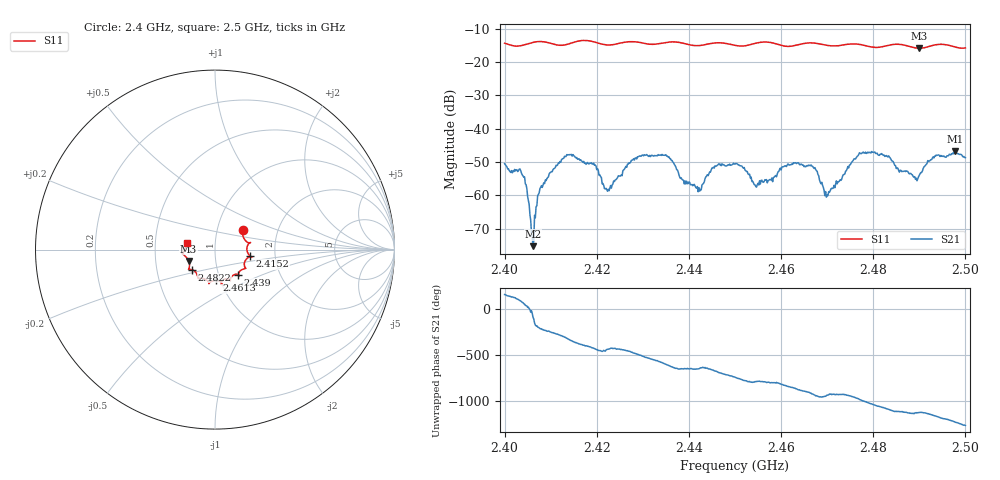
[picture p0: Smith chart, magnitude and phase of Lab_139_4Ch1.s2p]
# Hz S RI R 50
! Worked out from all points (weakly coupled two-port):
!   601 points, 2.4 GHz to 2.5 GHz, reference 50 ohm
!   highest |S21| = -46.87 dB at 2.4978 GHz (marker M1); lowest = -75.3 dB at 2.4062 GHz (marker M2)
!   lowest |S11| = -15.9 dB at 2.49 GHz (marker M3), VSWR 1.38, Z = 36.9 - j4.85 ohm
!   |S11| at or under -10 dB: start of sweep to end of sweep
!   S12 and S22 are empty: the file has one direction only
!   S11 on the Smith chart (normalised r, x): 2.4 GHz: 1.33, +0.31; 2.4152 GHz: 1.48, -0.11; 2.439 GHz: 1.24, -0.36; 2.4613 GHz: 0.96, -0.34; 2.4822 GHz: 0.76, -0.17; 2.5 GHz: 0.72, +0.05
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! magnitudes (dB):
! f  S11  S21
! 2.4 GHz  -14.4  -50.5
! 2.4038 GHz  -15.0  -53.9
! 2.4062 GHz  -14.1  -75.3
! 2.408 GHz  -13.9  -57.1
! 2.4152 GHz  -14.0  -48.3
! 2.4167 GHz  -13.6  -49.7
! 2.4222 GHz  -14.9  -58.3
! 2.428 GHz  -13.9  -49.1
! 2.4333 GHz  -14.6  -47.8
! 2.439 GHz  -14.5  -56.6
! 2.4422 GHz  -15.1  -57.7
! 2.45 GHz  -15.0  -50.7
! 2.4547 GHz  -14.3  -57.6
! 2.4613 GHz  -15.3  -50.9
! 2.4667 GHz  -14.3  -51.2
! 2.47 GHz  -15.0  -60.0
! 2.477 GHz  -14.7  -47.3
! 2.4822 GHz  -15.4  -48.0
! 2.4833 GHz  -15.0  -48.2
! 2.49 GHz  -15.9  -54.0
! 2.4978 GHz  -15.6  -46.9
! 2.5 GHz  -15.8  -48.7
